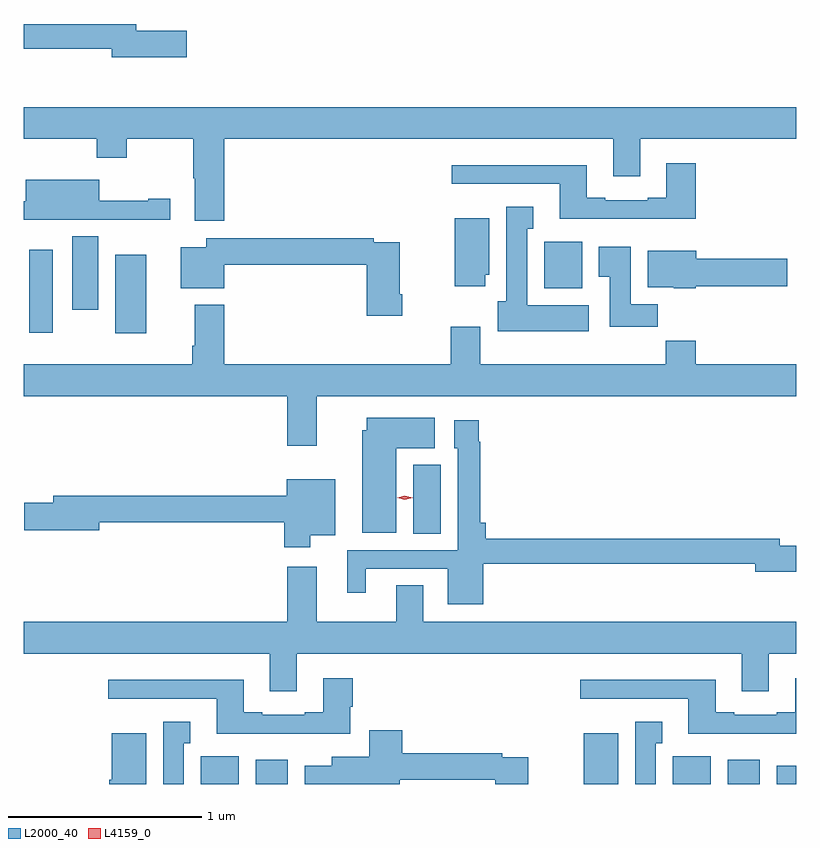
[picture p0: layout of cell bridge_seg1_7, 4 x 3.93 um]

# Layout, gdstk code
import gdstk
lib = gdstk.Library(unit=1e-6, precision=1e-09)
def R(c, l, rs):  # rectangles x0, y0, x1, y1
    for r in rs: c.add(gdstk.rectangle(r[:2], r[2:], *l))
def P(c, l, *ps):  # polygons
    for p in ps: c.add(gdstk.Polygon(p, *l))
L2000_40 = (2000, 40)
L4159_0 = (4159, 0)

bridge_seg1_7 = lib.new_cell('bridge_seg1_7')
R(bridge_seg1_7, L2000_40, [(635.336,521.753,635.533,521.896), (635.621,521.753,635.785,521.878), (637.316,521.753,637.495,522.016), (637.778,521.753,637.975,521.896), (638.063,521.753,638.227,521.878), (638.315,521.753,638.418,521.848), (636.434,523.048,636.577,523.405), (634.892,524.085,635.053,524.491), (634.448,524.088,634.57,524.518), (634.67,524.208,634.804,524.587), (637.112,524.318,637.309,524.56)])
P(bridge_seg1_7, L2000_40, [(635.263,525.65),(635.002,525.65),(635.002,525.686),(634.418,525.686),(634.418,525.558),(634.874,525.558),(634.874,525.515),(635.263,525.515)],
  [(635.456,525.092),(637.469,525.092),(637.469,524.898),(637.609,524.898),(637.609,525.092),(638.418,525.092),(638.418,525.256),(634.418,525.256),(634.418,525.092),(634.798,525.092),(634.798,524.993),(634.953,524.993),(634.953,525.092),(635.296,525.092),(635.296,524.888),(635.303,524.888),(635.303,524.667),(635.456,524.667)],
  [(637.898,524.965),(637.745,524.965),(637.745,524.788),(637.649,524.788),(637.649,524.775),(637.429,524.775),(637.429,524.788),(637.333,524.788),(637.333,524.956),(636.633,524.956),(636.633,524.859),(637.193,524.859),(637.193,524.678),(637.898,524.678)],
  [(634.674,524.673),(634.906,524.673),(634.906,524.672),(635.176,524.672),(635.176,524.782),(635.063,524.782),(635.063,524.772),(634.81,524.772),(634.81,524.881),(634.43,524.881),(634.43,524.769),(634.418,524.769),(634.418,524.672),(634.674,524.672)],
  [(637.342,524.23),(637.024,524.23),(637.024,524.627),(637.057,524.627),(637.057,524.74),(636.917,524.74),(636.917,524.25),(636.872,524.25),(636.872,524.096),(637.342,524.096)],
  [(636.808,524.388),(636.829,524.388),(636.829,524.68),(636.65,524.68),(636.65,524.328),(636.808,524.328)],
  [(636.377,524.287),(636.364,524.287),(636.364,524.556),(636.23,524.556),(636.23,524.576),(635.364,524.576),(635.364,524.53),(635.231,524.53),(635.231,524.318),(635.458,524.318),(635.458,524.44),(636.194,524.44),(636.194,524.175),(636.377,524.175)],
  [(637.7,524.236),(637.561,524.236),(637.561,524.533),(637.394,524.533),(637.394,524.377),(637.451,524.377),(637.451,524.118),(637.7,524.118)],
  [(637.896,524.329),(638.371,524.329),(638.371,524.471),(637.9,524.471),(637.9,524.512),(637.649,524.512),(637.649,524.324),(637.782,524.324),(637.782,524.318),(637.896,524.318)],
  [(635.935,523.76),(638.418,523.76),(638.418,523.924),(637.898,523.924),(637.898,524.048),(637.741,524.048),(637.741,523.924),(636.781,523.924),(636.781,524.119),(636.629,524.119),(636.629,523.924),(635.456,523.924),(635.456,524.233),(635.303,524.233),(635.303,524.02),(635.291,524.02),(635.291,523.924),(634.418,523.924),(634.418,523.76),(635.783,523.76),(635.783,523.503),(635.935,523.503)],
  [(636.346,523.49),(636.547,523.49),(636.547,523.648),(636.194,523.648),(636.194,523.584),(636.17,523.584),(636.17,523.052),(636.346,523.052)],
  [(636.796,522.894),(638.204,522.894),(638.204,522.851),(638.418,522.851),(638.418,522.986),(638.332,522.986),(638.332,523.022),(636.809,523.022),(636.809,523.105),(636.782,523.105),(636.782,523.523),(636.775,523.523),(636.775,523.636),(636.647,523.636),(636.647,523.491),(636.666,523.491),(636.666,522.963),(636.092,522.963),(636.092,522.744),(636.19,522.744),(636.19,522.867),(636.614,522.867),(636.614,522.683),(636.796,522.683)],
  [(635.902,523.04),(636.031,523.04),(636.031,523.33),(635.78,523.33),(635.78,523.244),(634.571,523.244),(634.571,523.208),(634.422,523.208),(634.422,523.066),(634.81,523.066),(634.81,523.108),(635.768,523.108),(635.768,522.978),(635.902,522.978)],
  [(635.833,522.428),(638.135,522.428),(638.135,522.234),(638.275,522.234),(638.275,522.428),(638.418,522.428),(638.418,522.592),(636.487,522.592),(636.487,522.782),(636.347,522.782),(636.347,522.592),(635.935,522.592),(635.935,522.877),(635.783,522.877),(635.783,522.592),(634.418,522.592),(634.418,522.428),(635.693,522.428),(635.693,522.234),(635.833,522.234)],
  [(636.109,522.153),(636.122,522.153),(636.122,522.301),(635.969,522.301),(635.969,522.124),(635.873,522.124),(635.873,522.111),(635.653,522.111),(635.653,522.124),(635.557,522.124),(635.557,522.292),(634.857,522.292),(634.857,522.195),(635.417,522.195),(635.417,522.014),(636.109,522.014)],
  [(638.418,522.301),(638.411,522.301),(638.411,522.124),(638.315,522.124),(638.315,522.111),(638.095,522.111),(638.095,522.124),(637.999,522.124),(637.999,522.292),(637.299,522.292),(637.299,522.195),(637.859,522.195),(637.859,522.014),(638.418,522.014)],
  [(635.248,521.963),(635.281,521.963),(635.281,522.076),(635.141,522.076),(635.141,521.753),(635.248,521.753)],
  [(637.69,521.963),(637.723,521.963),(637.723,522.076),(637.583,522.076),(637.583,521.753),(637.69,521.753)],
  [(636.364,521.776),(636.86,521.776),(636.86,521.753),(637.03,521.753),(637.03,521.892),(636.896,521.892),(636.896,521.912),(636.377,521.912),(636.377,522.031),(636.206,522.031),(636.206,521.893),(636.014,521.893),(636.014,521.848),(635.873,521.848),(635.873,521.753),(636.364,521.753)],
  [(635.053,522.016),(634.874,522.016),(634.874,521.776),(634.862,521.776),(634.862,521.753),(635.053,521.753)])
P(bridge_seg1_7, L4159_0, [(636.391,523.224),(636.351,523.235),(636.351,523.235),(636.351,523.235),(636.391,523.244),(636.431,523.234),(636.431,523.234),(636.431,523.234)])

lib.write_gds('bridge_seg1_7.gds')
